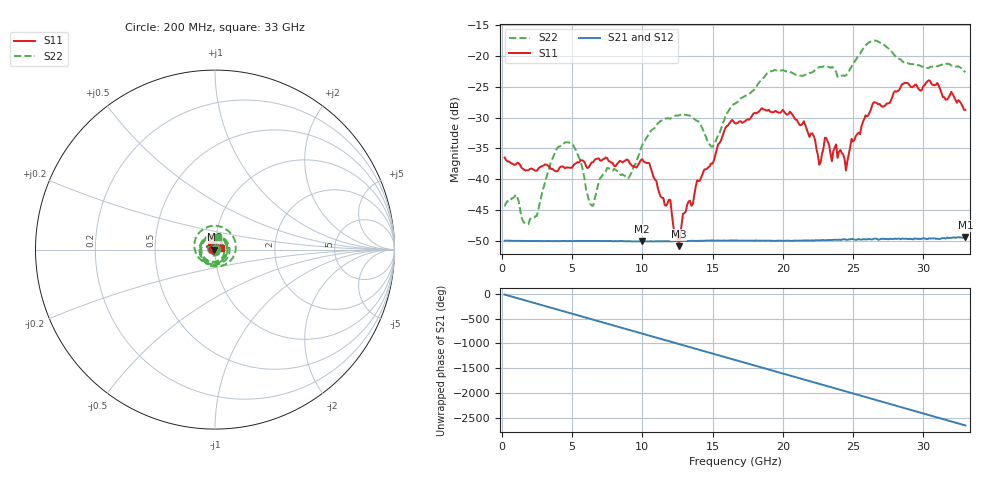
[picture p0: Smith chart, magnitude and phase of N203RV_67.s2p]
# GHZ S RI R 50
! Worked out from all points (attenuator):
!   329 points, 200 MHz to 33 GHz, reference 50 ohm
!   highest |S21| = -49.42 dB at 33 GHz (marker M1); lowest = -50.1 dB at 10 GHz (marker M2)
!   lowest |S11| = -50.9 dB at 12.6 GHz (marker M3), VSWR 1.01, Z = 49.7 + j0.00356 ohm
!   |S11| at or under -10 dB: start of sweep to end of sweep
!   |S22| runs from -47.3 to -17.5 dB; largest |S21 - S12| = 7.2e-05
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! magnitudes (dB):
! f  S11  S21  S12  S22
! 200 MHz  -36.5  -50.0  -50.0  -44.4
! 2.5 GHz  -38.6  -50.0  -50.0  -45.9
! 4.5 GHz  -38.2  -50.0  -50.0  -34.0
! 5.7 GHz  -36.9  -50.0  -50.0  -37.9
! 6.5 GHz  -37.2  -50.0  -50.0  -44.3
! 7.5 GHz  -36.6  -50.0  -50.0  -38.2
! 9 GHz  -36.9  -50.1  -50.1  -39.9
! 10 GHz  -36.8  -50.1  -50.1  -34.4
! 11.2 GHz  -42.1  -50.1  -50.1  -30.8
! 12 GHz  -43.4  -50.1  -50.1  -30.2
! 12.6 GHz  -50.9  -50.1  -50.0  -29.6
! 12.9 GHz  -45.6  -50.0  -50.0  -29.4
! 15 GHz  -37.5  -49.9  -49.9  -34.7
! 16.6 GHz  -30.9  -49.9  -49.9  -27.7
! 22.1 GHz  -32.6  -49.9  -49.9  -22.6
! 22.6 GHz  -37.6  -49.9  -49.9  -21.8
! 23 GHz  -33.3  -49.9  -49.9  -21.7
! 24.5 GHz  -38.6  -49.8  -49.8  -23.1
! 26.4 GHz  -27.7  -49.8  -49.7  -17.6
! 27.6 GHz  -27.7  -49.7  -49.7  -19.0
! 30.4 GHz  -24.0  -49.6  -49.6  -22.0
! 33 GHz  -28.7  -49.4  -49.4  -22.6
